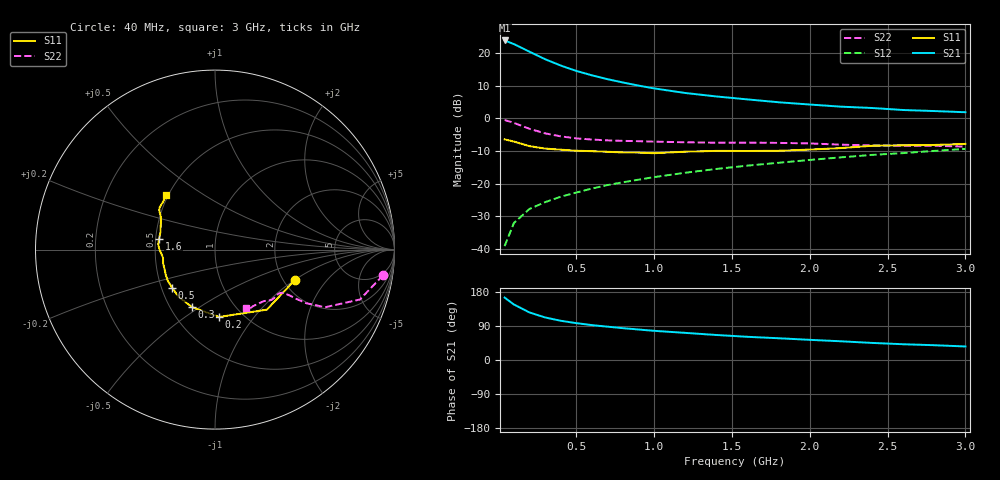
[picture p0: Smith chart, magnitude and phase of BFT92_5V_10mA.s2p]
! Filename:  BFT92C.S2P  Version:  2.0
! Philips part #: BFT92  Date: May 1990
! Bias condition: Vce=-5V, Ic=-10mA
#  MHz  S  MA  R  50
! Freq  S11  S21  S12  S22  !GUM [dB]
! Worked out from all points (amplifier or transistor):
!   21 points, 40 MHz to 3 GHz, reference 50 ohm
!   highest |S21| = 23.9 dB at 40 MHz (marker M1)
!   |S21| within 3 dB of that: start of sweep to 180.6 MHz
!   unconditionally stable (mu >= 1): 724.4 MHz to 2.282 GHz
!   at 300 MHz: K = 0.74, MSG = 21.9 dB, |S12| = -25.7 dB
!   at 1 GHz: K = 1.07, MAG = 12.0 dB, |S12| = -18.0 dB
!   at 3 GHz: K = 0.93, MSG = 5.6 dB, |S12| = -9.3 dB
!   S11 on the Smith chart (normalised r, x): 40 MHz: 2.32, -1.00; 200 MHz: 0.78, -0.69; 300 MHz: 0.64, -0.47; 500 MHz: 0.57, -0.27; 1.6 GHz: 0.52, +0.07; 3 GHz: 0.49, +0.35
40  0.478 -20.4  15.7 164.7  0.011 81.7  0.947 -8.7
100  0.442 -49.2  13.81 146.4  0.025 72.5  0.854 -19.0
200  0.376 -86.4  10.55 125.4  0.041 65.7  0.693 -27.6
300  0.345 -111.8  8.101 112.3  0.052 64.2  0.591 -30.4
400  0.332 -127.7  6.478 103.6  0.063 64.7  0.531 -31.2
500  0.32 -138.3  5.361 97.3  0.073 65.9  0.495 -31.5
600  0.315 -146.6  4.588 92.1  0.084 66.7  0.475 -31.8
700  0.308 -153.3  4.006 88.0  0.095 67.7  0.461 -32.0
800  0.301 -159.1  3.558 84.0  0.105 68.5  0.453 -32.1
900  0.299 -165.3  3.188 80.5  0.115 68.8  0.448 -32.5
1000  0.293 -171.1  2.889 77.0  0.126 69.0  0.441 -33.1
1200  0.309 -179.7  2.456 71.6  0.147 69.3  0.431 -34.7
1400  0.318 174.6  2.173 66.0  0.168 69.3  0.425 -37.1
1600  0.317 168.9  1.959 61.2  0.189 68.8  0.426 -39.4
1800  0.319 162.5  1.77 57.4  0.209 68.8  0.422 -41.5
2000  0.333 155.1  1.634 53.2  0.231 68.0  0.414 -43.4
2200  0.351 149.1  1.516 49.4  0.253 67.6  0.396 -46.3
2400  0.381 144.7  1.446 45.1  0.276 66.6  0.386 -51.2
2600  0.388 142.7  1.347 41.6  0.294 65.8  0.38 -56.0
2800  0.392 138.3  1.298 39.0  0.318 65.4  0.381 -59.3
3000  0.407 132.0  1.245 35.7  0.341 64.4  0.37 -61.9
